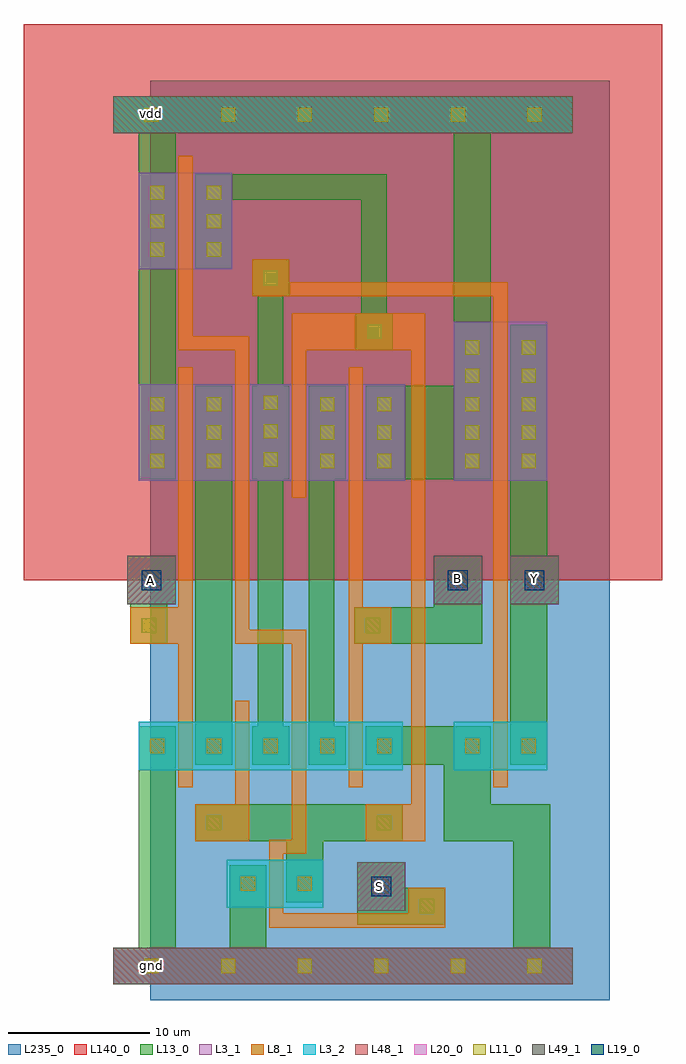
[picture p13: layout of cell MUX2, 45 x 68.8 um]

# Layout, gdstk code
import gdstk
lib = gdstk.Library(unit=1e-6, precision=1e-09)
def R(c, l, rs):  # rectangles x0, y0, x1, y1
    for r in rs: c.add(gdstk.rectangle(r[:2], r[2:], *l))
def A(c, l, x, y, w, h, nx, ny, dx, dy):  # array of equal rectangles
    R(c, l, [(x+i*dx, y+j*dy, x+i*dx+w, y+j*dy+h) for i in range(nx) for j in range(ny)])
def P(c, l, *ps):  # polygons
    for p in ps: c.add(gdstk.Polygon(p, *l))
L3_1 = (3, 1)
L3_2 = (3, 2)
L8_1 = (8, 1)
L11_0 = (11, 0)
L13_0 = (13, 0)
L19_0 = (19, 0)
L20_0 = (20, 0)
L48_1 = (48, 1)
L49_1 = (49, 1)
L140_0 = (140, 0)
L235_0 = (235, 0)

mux2 = lib.new_cell('MUX2')
R(mux2, L3_1, [(0,1.1,32.4,3.7), (1.8,36.6,20.6,43.4), (24,36.6,30.6,47.8), (1.8,51.5,8.4,58.3)])
R(mux2, L3_2, [(8,6.5,14.8,9.9), (1.8,16.2,20.4,19.6), (24,16.2,30.6,19.6), (0,61.1,32.4,63.7)])
P(mux2, L8_1, [(5.8,11.2),(5.8,13.8),(8.6,13.8),(8.6,21.1),(9.6,21.1),(9.6,11.2)],
  [(4.6,15),(4.6,25.1),(1.2,25.1),(1.2,27.7),(4.6,27.7),(4.6,44.6),(5.6,44.6),(5.6,15)],
  [(16.6,15),(16.6,44.6),(17.6,44.6),(17.6,27.7),(19.6,27.7),(19.6,25.1),(17.6,25.1),(17.6,15)],
  [(17.8,11.2),(17.8,13.8),(21,13.8),(21,45.8),(13.6,45.8),(13.6,35.4),(12.6,35.4),(12.6,48.4),(22,48.4),(22,11.2)],
  [(26.8,15),(26.8,49.6),(9.8,49.6),(9.8,52.2),(12.4,52.2),(12.4,50.6),(27.8,50.6),(27.8,15)],
  [(11,5.1),(11,11.3),(12.6,11.3),(12.6,25.1),(8.6,25.1),(8.6,45.8),(4.6,45.8),(4.6,59.5),(5.6,59.5),(5.6,46.8),(9.6,46.8),(9.6,26.1),(13.6,26.1),(13.6,10.3),(12,10.3),(12,6.1),(20.8,6.1),(20.8,7.9),(23.4,7.9),(23.4,5.1)])
A(mux2, L11_0, 2.2, 1.9, 1, 1, 6, 2, 5.4, 60)
A(mux2, L11_0, 2.6, 17.4, 1, 1, 5, 1, 4, 0)
A(mux2, L11_0, 2.6, 37.5, 1, 1, 1, 3, 0, 2)
A(mux2, L11_0, 6.6, 37.5, 1, 1, 1, 3, 0, 2)
A(mux2, L11_0, 14.6, 37.5, 1, 1, 1, 3, 0, 2)
A(mux2, L11_0, 18.6, 37.5, 1, 1, 1, 3, 0, 2)
A(mux2, L11_0, 24.8, 37.5, 1, 1, 1, 5, 0, 2)
A(mux2, L11_0, 28.8, 37.5, 1, 1, 1, 5, 0, 2)
A(mux2, L11_0, 10.6, 37.6, 1, 1, 1, 3, 0, 2)
A(mux2, L11_0, 2.6, 52.4, 1, 1, 1, 3, 0, 2)
A(mux2, L11_0, 6.6, 52.4, 1, 1, 1, 3, 0, 2)
R(mux2, L11_0, [(21.6,6.1,22.6,7.1), (9,7.7,10,8.7), (13,7.7,14,8.7), (6.6,12,7.6,13), (18.6,12,19.6,13), (24.8,17.4,25.8,18.4), (28.8,17.4,29.8,18.4), (2,25.9,3,26.9), (17.8,25.9,18.8,26.9), (17.9,46.6,18.9,47.6), (10.6,50.4,11.6,51.4)])
R(mux2, L13_0, [(0,1.1,32.4,3.7), (1.8,3.7,4.4,19.3), (8.2,3.7,10.8,9.5), (5.8,16.6,8.4,43.3), (1.8,36.7,4.4,61.1), (0,61.1,32.4,63.7)])
P(mux2, L13_0, [(17.2,5.3),(17.2,9.7),(20.6,9.7),(20.6,7.9),(23.4,7.9),(23.4,5.3)],
  [(12.2,6.9),(12.2,11.2),(5.8,11.2),(5.8,13.8),(20.4,13.8),(20.4,11.2),(14.8,11.2),(14.8,6.9)],
  [(28.2,3.7),(28.2,11.2),(23.3,11.2),(23.3,16.6),(17.8,16.6),(17.8,19.3),(26.6,19.3),(26.6,13.8),(30.8,13.8),(30.8,3.7)],
  [(1.2,25.1),(1.2,27.9),(1,27.9),(1,31.3),(4.4,31.3),(4.4,27.9),(3.8,27.9),(3.8,25.1)],
  [(17,25.1),(17,27.7),(22.6,27.7),(22.6,31.3),(26,31.3),(26,25.1)],
  [(13.8,16.6),(13.8,43.3),(16.4,43.3),(16.4,36.7),(15.6,36.7),(15.6,19.3),(16.4,19.3),(16.4,16.6)],
  [(28,16.6),(28,47.6),(30.6,47.6),(30.6,31.3),(31.4,31.3),(31.4,27.9),(30.6,27.9),(30.6,16.6)],
  [(9.8,16.6),(9.8,19.3),(10.2,19.3),(10.2,36.7),(9.8,36.7),(9.8,43.3),(10.2,43.3),(10.2,49.6),(9.8,49.6),(9.8,52.2),(12.4,52.2),(12.4,49.6),(12,49.6),(12,43.3),(12.4,43.3),(12.4,36.7),(12,36.7),(12,19.3),(12.4,19.3),(12.4,16.6)],
  [(17.1,45.8),(17.1,48.4),(17.5,48.4),(17.5,56.4),(8.4,56.4),(8.4,51.6),(5.8,51.6),(5.8,58.2),(19.3,58.2),(19.3,48.4),(19.7,48.4),(19.7,45.8)],
  [(17.8,36.7),(17.8,43.3),(24,43.3),(24,61.1),(26.6,61.1),(26.6,36.7)])
R(mux2, L19_0, [(18.2,7.3,19.6,8.7), (2,28.9,3.4,30.3), (2,28.9,3.4,30.3), (2,28.9,3.4,30.3), (23.6,28.9,25,30.3), (23.6,28.9,25,30.3), (23.6,28.9,25,30.3), (23.6,28.9,25,30.3), (29,28.9,30.4,30.3), (29,28.9,30.4,30.3), (29,28.9,30.4,30.3), (29,28.9,30.4,30.3)])
R(mux2, L20_0, [(17.2,6.3,20.6,9.7), (1,27.9,4.4,31.3), (1,27.9,4.4,31.3), (1,27.9,4.4,31.3), (22.6,27.9,26,31.3), (22.6,27.9,26,31.3), (22.6,27.9,26,31.3), (22.6,27.9,26,31.3), (28,27.9,31.4,31.3), (28,27.9,31.4,31.3), (28,27.9,31.4,31.3), (28,27.9,31.4,31.3)])
R(mux2, L48_1, [(0,1.1,32.4,3.7), (0,61.1,32.4,63.7)])
R(mux2, L49_1, [(17.2,6.3,20.6,9.7), (1,27.9,4.4,31.3), (22.6,27.9,26,31.3), (28,27.9,31.4,31.3)])
R(mux2, L140_0, [(-6.3,29.6,38.7,68.8)])
R(mux2, L235_0, [(2.6,0,35,64.8)])
mux2.add(gdstk.Label('A', (2.6,29.6), layer=49, texttype=0))
mux2.add(gdstk.Label('B', (24.3,29.7), layer=49, texttype=0))
mux2.add(gdstk.Label('Y', (29.7,29.7), layer=49, texttype=0))
mux2.add(gdstk.Label('S', (18.8,8), layer=49, texttype=0))
mux2.add(gdstk.Label('gnd', (2.7,2.4), layer=48, texttype=0))
mux2.add(gdstk.Label('vdd', (2.7,62.5), layer=48, texttype=0))

lib.write_gds('MUX2.gds')
